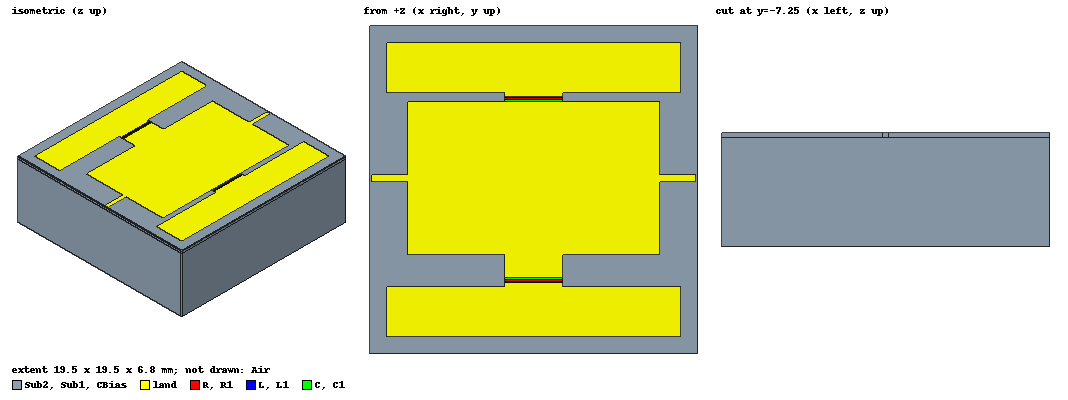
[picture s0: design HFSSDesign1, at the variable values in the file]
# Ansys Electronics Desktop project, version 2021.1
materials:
  vacuum: permittivity=1
  air: permittivity=1.0006 permeability=1.0000004
  Arlon AD320A (tm): permittivity=3.2 dielectric_loss_tangent=0.0032
  Rogers RT/duroid 5880 (tm): permittivity=2.2 dielectric_loss_tangent=0.0009
  pec: conductivity=1e+30
  FR4_epoxy: permittivity=4.4 dielectric_loss_tangent=0.02
  F4B: permittivity=2.65 dielectric_loss_tangent=0.002

design HFSSDesign1 (HFSS, DrivenModal, model units mm)
options: Save_Adaptive_support_files
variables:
  p = 19.5mm  # 1
  h1 = 6.5mm  # 1
  h2 = 0.3mm  # 1
  l1 = 17.5mm
  l3 = 3.4mm
  l4 = 15mm
  w1 = l1-w5*2-s*2-w3  # 1
  w3 = 1.4mm
  w5 = 3.2mm  # 1
  w6 = 3mm  # 1
  rb = 0.2mm  # 1
  s = 0.3mm  # 1
  Long = 35mm  # 1
  phi_scan = 0deg  # 1
  theta_scan = 30deg  # 1
  rbc = rb+0.1mm  # 1
  wide = 0.2mm  # 1
  n = 1  # 1
  ds = 0.1mm  # 1
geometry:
  Sub2 [FR4_epoxy] = box(corner=(-p/2, -p/2, 0mm), size=(p, p, h1))
  GND = rectangle(corner=(-p/2, -p/2, 0), x_size=p, y_size=p)
  Sub1 [FR4_epoxy] = box(corner=(-p/2, -p/2, h1), size=(p, p, h2))
  path1 = rectangle(corner=(-l1/2, -l1/2, h1+h2), x_size=l1, y_size=w6)
  path2 = rectangle(corner=(-l3/2, -l1/2+w6, h1+h2), x_size=l3, y_size=w5-w6)
  path1.unite(path2)
  path5 = rectangle(corner=(-l1/2, -l1/2, h1+h2), x_size=l1, y_size=w6)
  path6 = rectangle(corner=(-l3/2, -l1/2+w6, h1+h2), x_size=l3, y_size=w5-w6)
  path5.unite(path6)
  path5.rotate(axis=Z, angle=180deg)
  CBias [pec] = cylinder(axis=Z, base_centre=(0, -l1/2+w6/2, h1), radius=rb, height=h2)
  CBias1 [pec] = cylinder(axis=Z, base_centre=(0, -l1/2+w6/2, h1), radius=rb, height=h2)
  CBias1.rotate(axis=Z, angle=180deg)
  land = rectangle(corner=(-l4/2, -l1/2+w5+s, h1+h2), x_size=l4, y_size=w1+w3)
  land1 = rectangle(corner=(-l4/2, -l1/2+w5+s, h1+h2), x_size=(l4-l3)/2, y_size=w3)
  land2 = rectangle(corner=(l4/2-(l4-l3)/2, -l1/2+w5+s, h1+h2), x_size=(l4-l3)/2, y_size=w3)
  land.subtract(land1, land2)
  R = rectangle(corner=(-l3/2, -l1/2+w5+s/3, h1+h2), x_size=l3, y_size=s/3)
  L = rectangle(corner=(-l3/2, -l1/2+w5, h1+h2), x_size=l3, y_size=s/3)
  R1 = rectangle(corner=(-l3/2, -l1/2+w5+s/3, h1+h2), x_size=l3, y_size=s/3)
  L1 = rectangle(corner=(-l3/2, -l1/2+w5, h1+h2), x_size=l3, y_size=s/3)
  [R1, L1].rotate(axis=Z, angle=180deg)
  Air [vacuum] = box(corner=(-p/2, -p/2, -Long), size=(p, p, Long*2+h2+h1))
  land.unite(path1, path5)
  Circle1 = circle(normal=Z, centre=(0mm, -l1/2+w6/2, h1), radius=rbc)
  Circle2 = circle(normal=Z, centre=(0mm, -l1/2+w6/2, h1), radius=rbc)
  Circle2.rotate(axis=Z, angle=180deg)
  Line = rectangle(corner=(-l1/2, -l1/2+w6/2-wide/2, h1), x_size=l1, y_size=wide)
  Circle1.unite(Circle2)
  Line1 = rectangle(corner=(-l1/2, -l1/2+w6/2-wide/2, h1), x_size=l1, y_size=wide)
  Line1.rotate(axis=Z, angle=180deg)
  [R, L, R1, L1].scale(n, n, n)
  C = rectangle(corner=(-l3/2, -l1/2+w5+2*s/3, h1+h2), x_size=l3, y_size=s/3)
  C.scale(n, n, n)
  C1 = rectangle(corner=(-l3/2, -l1/2+w5+2*s/3, h1+h2), x_size=l3, y_size=s/3)
  C1.rotate(axis=Z, angle=180deg)
  C1.scale(n, n, n)
  Rectangle1 = rectangle(corner=(-p/2+wide/2, -wide+w3/2, h1+h2), x_size=p-wide, y_size=wide*2)
  [Circle1, Line1, Rectangle1].scale(n, n, n)
  land.unite(Rectangle1)
  Line2 = rectangle(corner=(-l1/2, -l1/2+w6/2-rbc-(wide+ds), h1), x_size=l1, y_size=wide)
  Line2.scale(n, n, n)
  Line3 = rectangle(corner=(-l1/2, -l1/2+w6/2-rbc-(wide+ds)*2, h1), x_size=l1, y_size=wide)
  Line3.scale(n, n, n)
  Line4 = rectangle(corner=(-l1/2, -l1/2+w6/2-rbc-(wide+ds)*3, h1), x_size=l1, y_size=wide)
  Line4.scale(n, n, n)
  Line5 = rectangle(corner=(-l1/2, -l1/2+w6/2-wide+rbc+(wide+ds), h1), x_size=l1, y_size=wide)
  Line5.scale(n, n, n)
  Line6 = rectangle(corner=(-l1/2, -l1/2+w6/2-wide+rbc+(wide+ds)*2, h1), x_size=l1, y_size=wide)
  Line6.scale(n, n, n)
  Line7 = rectangle(corner=(-l1/2, -l1/2+w6/2-wide+rbc+(wide+ds)*3, h1), x_size=l1, y_size=wide)
  Line7.scale(n, n, n)
  Line8 = rectangle(corner=(-l1/2, -l1/2+w6/2-rbc-(wide+ds)*4, h1), x_size=l1, y_size=wide)
  Line8.scale(n, n, n)
  Line2.unite(Line3..Line8)
  Line9 = rectangle(corner=(-l1/2, -l1/2+w6/2-rbc-(wide+ds), h1), x_size=l1, y_size=wide)
  Line9.scale(n, n, n)
  Line10 = rectangle(corner=(-l1/2, -l1/2+w6/2-rbc-(wide+ds)*2, h1), x_size=l1, y_size=wide)
  Line10.scale(n, n, n)
  Line11 = rectangle(corner=(-l1/2, -l1/2+w6/2-rbc-(wide+ds)*3, h1), x_size=l1, y_size=wide)
  Line11.scale(n, n, n)
  Line12 = rectangle(corner=(-l1/2, -l1/2+w6/2-wide+rbc+(wide+ds), h1), x_size=l1, y_size=wide)
  Line12.scale(n, n, n)
  Line13 = rectangle(corner=(-l1/2, -l1/2+w6/2-wide+rbc+(wide+ds)*2, h1), x_size=l1, y_size=wide)
  Line13.scale(n, n, n)
  Line14 = rectangle(corner=(-l1/2, -l1/2+w6/2-wide+rbc+(wide+ds)*3, h1), x_size=l1, y_size=wide)
  Line14.scale(n, n, n)
  Line15 = rectangle(corner=(-l1/2, -l1/2+w6/2-rbc-(wide+ds)*4, h1), x_size=l1, y_size=wide)
  Line15.scale(n, n, n)
  Line9.unite(Line10..Line15)
  Line9.rotate(axis=Z, angle=180deg)
  Line.unite(Line2)
  Line1.unite(Line9)
  Line.unite(Line1, Circle1)
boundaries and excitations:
  PerfE1: Perfect E Objects=[GND, land]
  LumpRLC1: Lumped RLC Objects=L CurrentLine{middle of L.edge(y at corner) -> middle of L.edge(y opposite corner)} RLC_Type=Parallel Inductance=0.45nH
  LumpRLC2: Lumped RLC Objects=R CurrentLine{middle of R.edge(y at corner) -> middle of R.edge(y opposite corner)} RLC_Type=Parallel Resistance=10ohm
  LumpRLC3: Lumped RLC Objects=L1 CurrentLine{middle of L1.edge(1 of 4) -> middle of L1.edge(3 of 4)} RLC_Type=Parallel Inductance=0.45nH
  LumpRLC4: Lumped RLC Objects=R1 CurrentLine{middle of R1.edge(1 of 4) -> middle of R1.edge(3 of 4)} RLC_Type=Parallel Resistance=10ohm
  Master1: Primary Faces=Air.face(+x) CoordSysVector{Air.vertex(6 of 8) -> Air.vertex(5 of 8)} ReverseV
  Slave1: Secondary Faces=Air.face(-x) CoordSysVector{Air.vertex(7 of 8) -> Air.vertex(8 of 8)} primary=Master1 PhaseDelay=UseScanAngle Phi=phi_scan Theta=theta_scan
  Master2: Primary Faces=Air.face(-y) CoordSysVector{Air.vertex(6 of 8) -> Air.vertex(7 of 8)}
  Slave2: Secondary Faces=Air.face(+y) CoordSysVector{Air.vertex(5 of 8) -> Air.vertex(8 of 8)} ReverseV primary=Master2 PhaseDelay=UseScanAngle Phi=phi_scan Theta=theta_scan
  PerfE3: Perfect E Objects=Line
  LumpRLC5: Lumped RLC Objects=C CurrentLine{middle of C.edge(y at corner) -> middle of C.edge(y opposite corner)} RLC_Type=Parallel Capacitance=0.16pF
  LumpRLC6: Lumped RLC Objects=C1 CurrentLine{middle of C1.edge(1 of 4) -> middle of C1.edge(3 of 4)} RLC_Type=Parallel Capacitance=0.16pF
  FloquetPort1: Floquet Port Faces=Air.face(+z) NumModes=2 DeembedDist=Long*n Modes{Mode1{CharImp=Zpi} Mode2{CharImp=Zpi}} PhaseDelay=UseScanAngle Phi=phi_scan Theta=theta_scan LatticeAVector{Air.vertex(4 of 8) -> Air.vertex(1 of 8)} LatticeBVector{Air.vertex(4 of 8) -> Air.vertex(3 of 8)} ModesCalculator{Frequency=2.44GHz FrequencyChanged PhiStart=0deg PhiStop=0deg PhiStep=0deg ThetaStart=30deg ThetaStop=30deg ThetaStep=0deg} ModesList{Mode{ModeNumber=1 IndexM=0 IndexN=0 KC2=0 PropagationState=Propagating Attenuation=0 PolarizationState=TE AffectsRefinement} Mode{ModeNumber=2 IndexM=0 IndexN=0 KC2=0 PropagationState=Propagating Attenuation=0 PolarizationState=TM AffectsRefinement}}
  FloquetPort2: Floquet Port Faces=Air.face(-z) NumModes=2 DeembedDist=Long*n Modes{Mode1{CharImp=Zpi} Mode2{CharImp=Zpi}} PhaseDelay=UseScanAngle Phi=phi_scan Theta=theta_scan LatticeAVector{Air.vertex(7 of 8) -> Air.vertex(6 of 8)} LatticeBVector{Air.vertex(7 of 8) -> Air.vertex(8 of 8)} ModesCalculator{Frequency=2.44GHz FrequencyChanged PhiStart=0deg PhiStop=0deg PhiStep=0deg ThetaStart=30deg ThetaStop=30deg ThetaStep=0deg} ModesList{Mode{ModeNumber=1 IndexM=0 IndexN=0 KC2=0 PropagationState=Propagating Attenuation=0 PolarizationState=TE AffectsRefinement} Mode{ModeNumber=2 IndexM=0 IndexN=0 KC2=0 PropagationState=Propagating Attenuation=0 PolarizationState=TM AffectsRefinement}}
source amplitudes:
  FloquetPort1:1: 1W 0deg
  FloquetPort1:2, FloquetPort2:1, FloquetPort2:2: 0W 0deg
